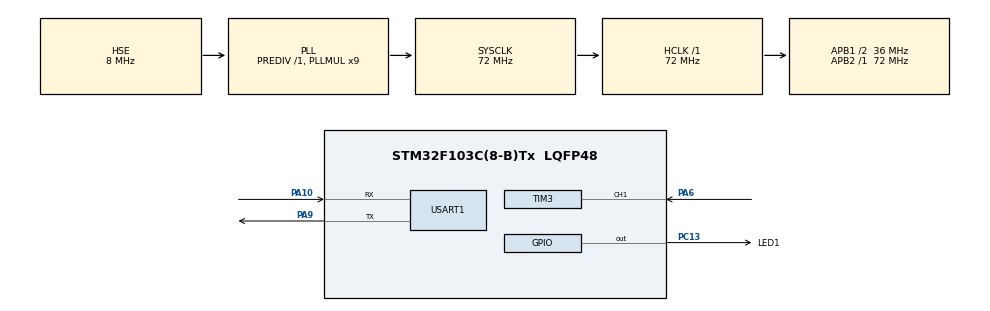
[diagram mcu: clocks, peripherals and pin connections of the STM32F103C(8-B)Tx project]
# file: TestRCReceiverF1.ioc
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Mcu.Family=STM32F1
Mcu.Name=STM32F103C(8-B)Tx
Mcu.Package=LQFP48
NVIC.PriorityGroup=NVIC_PRIORITYGROUP_4
NVIC.TIM3_IRQn=true\:0\:0\:false\:false\:true\:true\:true
PA10.Mode=Asynchronous
PA10.Signal=USART1_RX
PA6.Signal=S_TIM3_CH1
PA9.Mode=Asynchronous
PA9.Signal=USART1_TX
PC13-TAMPER-RTC.GPIO_Label=LED1
PC13-TAMPER-RTC.Signal=GPIO_Output
PD0-OSC_IN.Mode=HSE-External-Oscillator
PD0-OSC_IN.Signal=RCC_OSC_IN
PD1-OSC_OUT.Mode=HSE-External-Oscillator
PD1-OSC_OUT.Signal=RCC_OSC_OUT
ProjectManager.HeapSize=0x200
ProjectManager.StackSize=0x400
ProjectManager.TargetToolchain=STM32CubeIDE
RCC.AHBFreq_Value=72000000
RCC.APB1CLKDivider=RCC_HCLK_DIV2
RCC.APB1Freq_Value=36000000
RCC.APB1TimFreq_Value=72000000
RCC.APB2Freq_Value=72000000
RCC.APB2TimFreq_Value=72000000
RCC.HCLKFreq_Value=72000000
RCC.PLLMUL=RCC_PLL_MUL9
RCC.PLLSourceVirtual=RCC_PLLSOURCE_HSE
RCC.SYSCLKFreq_VALUE=72000000
RCC.SYSCLKSource=RCC_SYSCLKSOURCE_PLLCLK
RCC.USBFreq_Value=72000000
SH.S_TIM3_CH1.0=TIM3_CH1,Input_Capture1_from_TI1
TIM3.Channel-Input_Capture1_from_TI1=TIM_CHANNEL_1
TIM3.Period=65535
TIM3.Prescaler=71
USART1.VirtualMode=VM_ASYNC
VP_SYS_VS_ND.Mode=No_Debug
VP_TIM3_VS_ClockSourceINT.Mode=Internal
board=custom

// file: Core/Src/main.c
/* USER CODE BEGIN Header */
/**
  ******************************************************************************
  * @file           : main.c
  * @brief          : Main program body
  ******************************************************************************
  * @attention
  *
  * <h2><center>&copy; Copyright (c) 2021 STMicroelectronics.
  * All rights reserved.</center></h2>
  *
  * This software component is licensed by ST under BSD 3-Clause license,
  * the "License"; You may not use this file except in compliance with the
  * License. You may obtain a copy of the License at:
  *                        opensource.org/licenses/BSD-3-Clause
  *
  ******************************************************************************
  */
/* USER CODE END Header */
#include "main.h"

/* USER CODE BEGIN Includes */

#include "string.h"
#include "stdio.h"

/* USER CODE END Includes */

TIM_HandleTypeDef htim3;

UART_HandleTypeDef huart1;

/* USER CODE BEGIN PV */

volatile uint32_t current_ppm_capture;
volatile uint32_t last_ppm_capture;
volatile uint32_t frequency_read;

uint8_t send_buffer[32];

/* USER CODE END PV */

void SystemClock_Config(void);
static void MX_GPIO_Init(void);
static void MX_TIM3_Init(void);
static void MX_USART1_UART_Init(void);

int main(void)
{

  /* MCU Configuration--------------------------------------------------------*/

  /* Reset of all peripherals, Initializes the Flash interface and the Systick. */
  HAL_Init();

  /* Configure the system clock */
  SystemClock_Config();

  /* Initialize all configured peripherals */
  MX_GPIO_Init();
  MX_TIM3_Init();
  MX_USART1_UART_Init();
  /* USER CODE BEGIN 2 */

  HAL_TIM_IC_Start_IT(&htim3, TIM_CHANNEL_1);

  /* USER CODE END 2 */

  /* Infinite loop */
  /* USER CODE BEGIN WHILE */
  while (1)
  {
	  HAL_Delay(100);

	  sprintf((char*)send_buffer, "%lu%s", frequency_read, "\r\n");//uint32_t
	  HAL_UART_Transmit(&huart1, (uint8_t *)send_buffer, strlen((char *)send_buffer), HAL_MAX_DELAY);

    /* USER CODE END WHILE */

  }
}

void SystemClock_Config(void)
{
  RCC_OscInitTypeDef RCC_OscInitStruct = {0};
  RCC_ClkInitTypeDef RCC_ClkInitStruct = {0};

  /** Initializes the RCC Oscillators according to the specified parameters
  * in the RCC_OscInitTypeDef structure.
  */
  RCC_OscInitStruct.OscillatorType = RCC_OSCILLATORTYPE_HSE;
  RCC_OscInitStruct.HSEState = RCC_HSE_ON;
  RCC_OscInitStruct.HSEPredivValue = RCC_HSE_PREDIV_DIV1;
  RCC_OscInitStruct.HSIState = RCC_HSI_ON;
  RCC_OscInitStruct.PLL.PLLState = RCC_PLL_ON;
  RCC_OscInitStruct.PLL.PLLSource = RCC_PLLSOURCE_HSE;
  RCC_OscInitStruct.PLL.PLLMUL = RCC_PLL_MUL9;
  if (HAL_RCC_OscConfig(&RCC_OscInitStruct) != HAL_OK)
  {
    Error_Handler();
  }
  /** Initializes the CPU, AHB and APB buses clocks
  */
  RCC_ClkInitStruct.ClockType = RCC_CLOCKTYPE_HCLK|RCC_CLOCKTYPE_SYSCLK
                              |RCC_CLOCKTYPE_PCLK1|RCC_CLOCKTYPE_PCLK2;
  RCC_ClkInitStruct.SYSCLKSource = RCC_SYSCLKSOURCE_PLLCLK;
  RCC_ClkInitStruct.AHBCLKDivider = RCC_SYSCLK_DIV1;
  RCC_ClkInitStruct.APB1CLKDivider = RCC_HCLK_DIV2;
  RCC_ClkInitStruct.APB2CLKDivider = RCC_HCLK_DIV1;

  if (HAL_RCC_ClockConfig(&RCC_ClkInitStruct, FLASH_LATENCY_2) != HAL_OK)
  {
    Error_Handler();
  }
}

static void MX_TIM3_Init(void)
{

  TIM_ClockConfigTypeDef sClockSourceConfig = {0};
  TIM_MasterConfigTypeDef sMasterConfig = {0};
  TIM_IC_InitTypeDef sConfigIC = {0};

  htim3.Instance = TIM3;
  htim3.Init.Prescaler = 71;
  htim3.Init.CounterMode = TIM_COUNTERMODE_UP;
  htim3.Init.Period = 65535;
  htim3.Init.ClockDivision = TIM_CLOCKDIVISION_DIV1;
  htim3.Init.AutoReloadPreload = TIM_AUTORELOAD_PRELOAD_DISABLE;
  if (HAL_TIM_Base_Init(&htim3) != HAL_OK)
  {
    Error_Handler();
  }
  sClockSourceConfig.ClockSource = TIM_CLOCKSOURCE_INTERNAL;
  if (HAL_TIM_ConfigClockSource(&htim3, &sClockSourceConfig) != HAL_OK)
  {
    Error_Handler();
  }
  if (HAL_TIM_IC_Init(&htim3) != HAL_OK)
  {
    Error_Handler();
  }
  sMasterConfig.MasterOutputTrigger = TIM_TRGO_RESET;
  sMasterConfig.MasterSlaveMode = TIM_MASTERSLAVEMODE_DISABLE;
  if (HAL_TIMEx_MasterConfigSynchronization(&htim3, &sMasterConfig) != HAL_OK)
  {
    Error_Handler();
  }
  sConfigIC.ICPolarity = TIM_INPUTCHANNELPOLARITY_RISING;
  sConfigIC.ICSelection = TIM_ICSELECTION_DIRECTTI;
  sConfigIC.ICPrescaler = TIM_ICPSC_DIV1;
  sConfigIC.ICFilter = 0;
  if (HAL_TIM_IC_ConfigChannel(&htim3, &sConfigIC, TIM_CHANNEL_1) != HAL_OK)
  {
    Error_Handler();
  }

}

static void MX_USART1_UART_Init(void)
{

  huart1.Instance = USART1;
  huart1.Init.BaudRate = 115200;
  huart1.Init.WordLength = UART_WORDLENGTH_8B;
  huart1.Init.StopBits = UART_STOPBITS_1;
  huart1.Init.Parity = UART_PARITY_NONE;
  huart1.Init.Mode = UART_MODE_TX_RX;
  huart1.Init.HwFlowCtl = UART_HWCONTROL_NONE;
  huart1.Init.OverSampling = UART_OVERSAMPLING_16;
  if (HAL_UART_Init(&huart1) != HAL_OK)
  {
    Error_Handler();
  }

}

static void MX_GPIO_Init(void)
{
  GPIO_InitTypeDef GPIO_InitStruct = {0};

  /* GPIO Ports Clock Enable */
  __HAL_RCC_GPIOC_CLK_ENABLE();
  __HAL_RCC_GPIOD_CLK_ENABLE();
  __HAL_RCC_GPIOA_CLK_ENABLE();

  /*Configure GPIO pin Output Level */
  HAL_GPIO_WritePin(LED1_GPIO_Port, LED1_Pin, GPIO_PIN_RESET);

  /*Configure GPIO pin : LED1_Pin */
  GPIO_InitStruct.Pin = LED1_Pin;
  GPIO_InitStruct.Mode = GPIO_MODE_OUTPUT_PP;
  GPIO_InitStruct.Pull = GPIO_NOPULL;
  GPIO_InitStruct.Speed = GPIO_SPEED_FREQ_LOW;
  HAL_GPIO_Init(LED1_GPIO_Port, &GPIO_InitStruct);

}

/* USER CODE BEGIN 4 */

void HAL_TIM_IC_CaptureCallback(TIM_HandleTypeDef *htim)
{
	if(htim == &htim3)
	{
		current_ppm_capture = HAL_TIM_ReadCapturedValue(&htim3, TIM_CHANNEL_1);

		if(HAL_GPIO_ReadPin(GPIOA, GPIO_PIN_6))
		{
			last_ppm_capture = current_ppm_capture;

			//&htim3->Instance->CCER |= TIM_CCER_CC1P;
			__HAL_TIM_SET_CAPTUREPOLARITY(&htim3, TIM_CHANNEL_1, TIM_INPUTCHANNELPOLARITY_FALLING);
		}
		else
		{
			//frequency_read = current_ppm_capture - last_ppm_capture;

			/*if(frequency_read < 0)
			{
				frequency_read += 0xFFFFFFFF;
			}*/

			if (current_ppm_capture > last_ppm_capture)
			{
				frequency_read = current_ppm_capture - last_ppm_capture;
			}
			else if (current_ppm_capture <= last_ppm_capture)
			{
				/* 0x1000 is max overflow value */
				frequency_read = 0xFFFF + current_ppm_capture - last_ppm_capture;
			}

			if(frequency_read > 2200)
			{
				HAL_GPIO_TogglePin(LED1_GPIO_Port, LED1_Pin);
			}

			__HAL_TIM_SET_CAPTUREPOLARITY(&htim3, TIM_CHANNEL_1, TIM_INPUTCHANNELPOLARITY_RISING);
		}
	}
}

/* USER CODE END 4 */

void Error_Handler(void)
{
}

/************************ (C) COPYRIGHT STMicroelectronics *****END OF FILE****/
